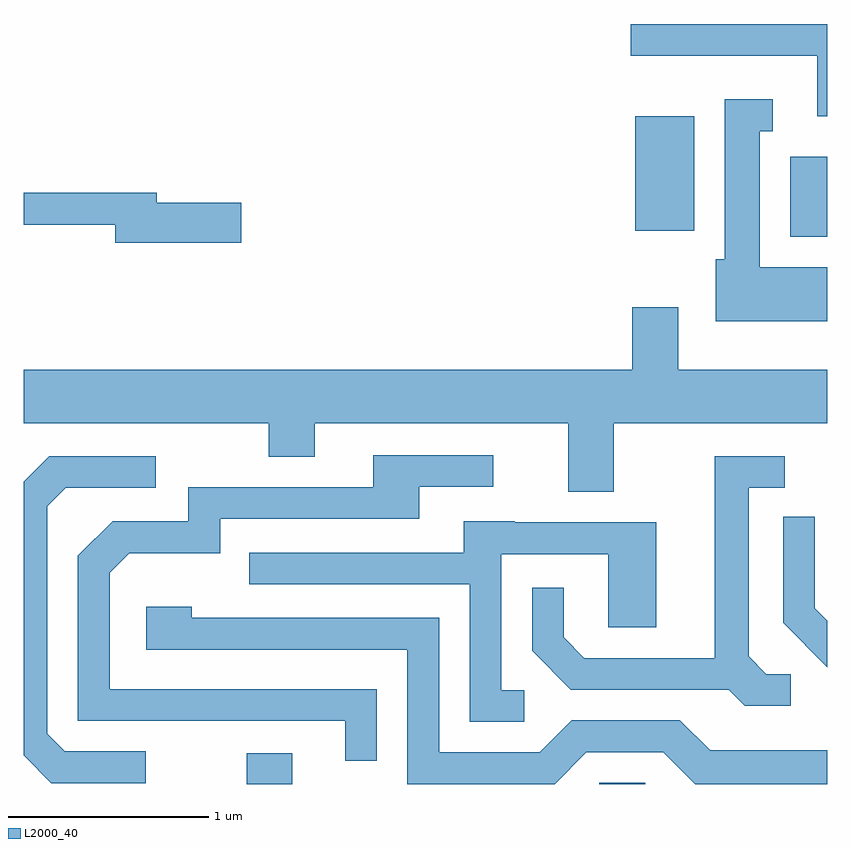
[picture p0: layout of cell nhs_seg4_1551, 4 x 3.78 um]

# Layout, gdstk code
import gdstk
lib = gdstk.Library(unit=1e-6, precision=1e-09)
def R(c, l, rs):  # rectangles x0, y0, x1, y1
    for r in rs: c.add(gdstk.rectangle(r[:2], r[2:], *l))
def P(c, l, *ps):  # polygons
    for p in ps: c.add(gdstk.Polygon(p, *l))
L2000_40 = (2000, 40)

nhs_seg4_1551 = lib.new_cell('nhs_seg4_1551')
R(nhs_seg4_1551, L2000_40, [(230.721,1363.982,230.949,1364.134), (232.476,1363.982,232.704,1363.989), (233.426,1366.706,233.611,1367.104), (232.656,1366.736,232.949,1367.304)])
P(nhs_seg4_1551, L2000_40, [(233.611,1367.764),(232.633,1367.764),(232.633,1367.606),(233.561,1367.606),(233.561,1367.306),(233.611,1367.306)],
  [(233.611,1366.554),(233.274,1366.554),(233.274,1367.231),(233.338,1367.231),(233.338,1367.389),(233.101,1367.389),(233.101,1366.594),(233.056,1366.594),(233.056,1366.286),(233.611,1366.286)],
  [(230.694,1366.874),(230.274,1366.874),(230.274,1366.924),(229.611,1366.924),(229.611,1366.766),(230.066,1366.766),(230.066,1366.676),(230.694,1366.676)],
  [(232.549,1365.776),(233.611,1365.776),(233.611,1366.044),(232.869,1366.044),(232.869,1366.354),(232.641,1366.354),(232.641,1366.044),(229.611,1366.044),(229.611,1365.776),(230.831,1365.776),(230.831,1365.611),(231.059,1365.611),(231.059,1365.776),(232.321,1365.776),(232.321,1365.436),(232.549,1365.436)],
  [(231.369,1364.454),(230.039,1364.454),(230.039,1365.034),(230.137,1365.131),(230.589,1365.131),(230.589,1365.301),(231.579,1365.301),(231.579,1365.461),(231.948,1365.461),(231.948,1365.619),(231.351,1365.619),(231.351,1365.459),(230.431,1365.459),(230.431,1365.289),(230.054,1365.289),(229.881,1365.117),(229.881,1364.296),(231.211,1364.296),(231.211,1364.098),(231.369,1364.098)],
  [(230.218,1364.144),(229.817,1364.144),(229.729,1364.232),(229.729,1365.364),(229.822,1365.456),(230.268,1365.456),(230.268,1365.614),(229.739,1365.614),(229.611,1365.487),(229.611,1364.124),(229.749,1363.986),(230.218,1363.986)],
  [(233.428,1364.529),(233.307,1364.529),(233.219,1364.617),(233.219,1365.456),(233.398,1365.456),(233.398,1365.614),(233.051,1365.614),(233.051,1364.609),(232.402,1364.609),(232.299,1364.712),(232.299,1364.958),(232.141,1364.958),(232.141,1364.644),(232.334,1364.451),(233.119,1364.451),(233.199,1364.371),(233.428,1364.371)],
  [(233.611,1364.795),(233.549,1364.857),(233.549,1365.313),(233.391,1365.313),(233.391,1364.784),(233.611,1364.564)],
  [(232.103,1364.449),(231.989,1364.449),(231.989,1365.126),(232.521,1365.126),(232.521,1364.761),(232.759,1364.761),(232.759,1365.284),(232.055,1365.284),(232.055,1365.289),(231.801,1365.289),(231.801,1365.134),(230.733,1365.134),(230.733,1364.976),(231.831,1364.976),(231.831,1364.291),(232.103,1364.291)],
  [(232.412,1364.141),(232.794,1364.141),(232.953,1363.982),(233.611,1363.982),(233.611,1364.149),(233.027,1364.149),(232.877,1364.299),(232.339,1364.299),(232.179,1364.139),(231.679,1364.139),(231.679,1364.809),(230.449,1364.809),(230.449,1364.864),(230.221,1364.864),(230.221,1364.651),(231.521,1364.651),(231.521,1363.982),(232.253,1363.982)])

lib.write_gds('nhs_seg4_1551.gds')
